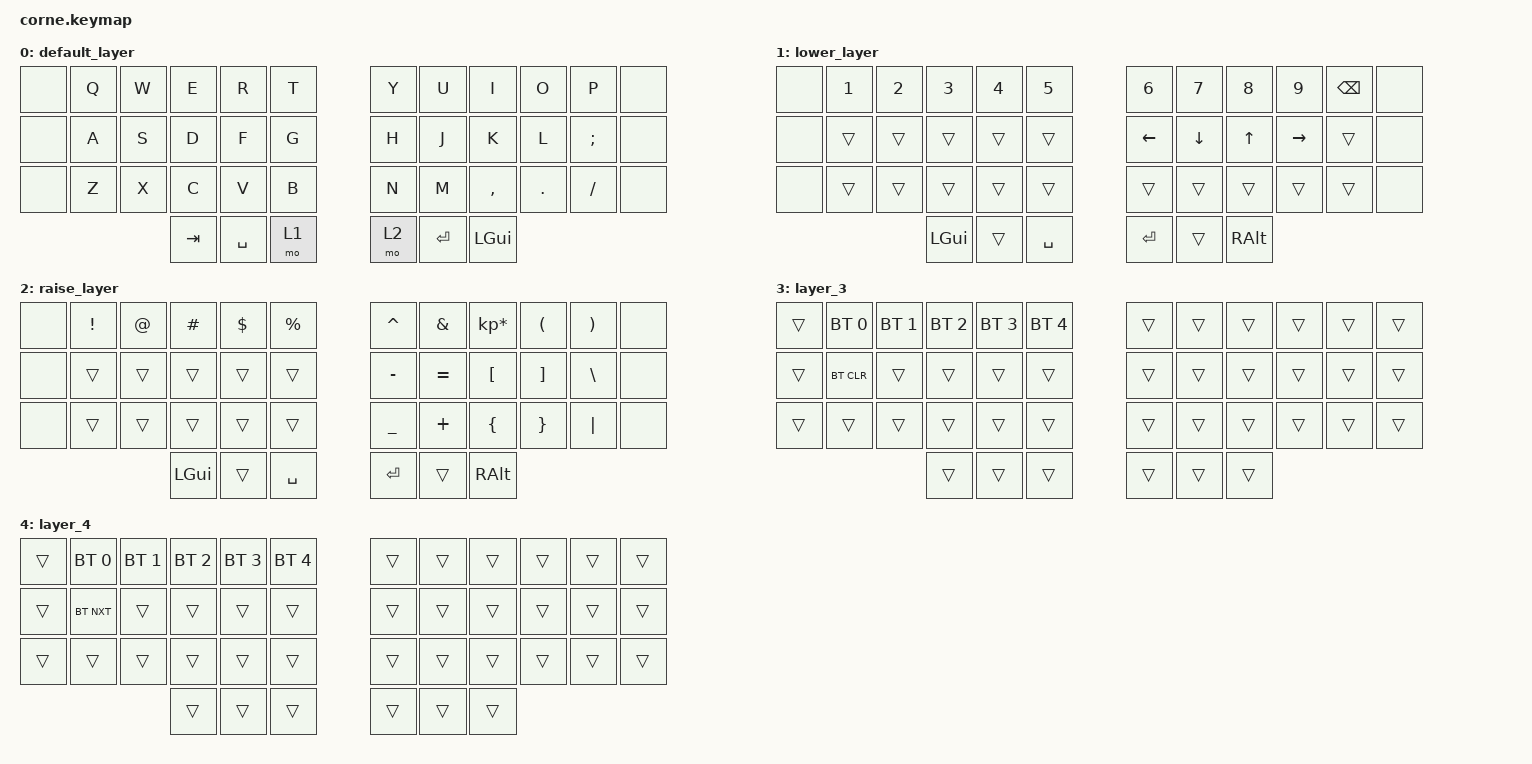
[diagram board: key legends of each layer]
/*
 * Copyright (c) 2020 The ZMK Contributors
 *
 * SPDX-License-Identifier: MIT
 */

#include <behaviors.dtsi>
#include <dt-bindings/zmk/bt.h>
#include <dt-bindings/zmk/keys.h>

/ {
    combos {
        compatible = "zmk,combos";

        BT {
            bindings = <&tog 3>;
            key-positions = <38 39>;
        };
    };

    keymap {
        compatible = "zmk,keymap";

        default_layer {
            // -----------------------------------------------------------------------------------------
            // | NONE |  Q  |  W  |  E  |  R  |  T  |   |  Y  |  U   |  I  |  O  |  P  | NONE |
            // | NONE |  A  |  S  |  D  |  F  |  G  |   |  H  |  J   |  K  |  L  |  ;  | NONE |
            // | NONE |  Z  |  X  |  C  |  V  |  B  |   |  N  |  M   |  ,  |  .  |  /  | NONE |
            //                    | GUI | LWR | SPC |   | ENT | RSE  | ALT |

            bindings = <
&none  &kp Q  &kp W  &kp E    &kp R      &kp T    &kp Y  &kp U      &kp I      &kp O    &kp P     &none
&none  &kp A  &kp S  &kp D    &kp F      &kp G    &kp H  &kp J      &kp K      &kp L    &kp SEMI  &none
&none  &kp Z  &kp X  &kp C    &kp V      &kp B    &kp N  &kp M      &kp COMMA  &kp DOT  &kp FSLH  &none
                     &kp TAB  &kp SPACE  &mo 1    &mo 2  &kp ENTER  &kp LGUI
            >;
        };

        lower_layer {
            // -----------------------------------------------------------------------------------------
            // |      |  1  |  2  |  3  |  4  |  5  |   |  6  |  7  |  8  |  9  |  0  |      |
            // |      | BT1 | BT2 | BT3 | BT4 | BT5 |   | LFT | DWN |  UP | RGT |     |      |
            // |      |     |     |     |     |     |   |     |     |     |     |     |      |
            //                    | GUI |     | SPC |   | ENT |     | ALT |

            bindings = <
&none  &kp N1  &kp N2  &kp N3    &kp N4  &kp N5       &kp N6    &kp N7    &kp N8    &kp N9     &kp BACKSPACE  &none
&none  &trans  &trans  &trans    &trans  &trans       &kp LEFT  &kp DOWN  &kp UP    &kp RIGHT  &trans         &none
&none  &trans  &trans  &trans    &trans  &trans       &trans    &trans    &trans    &trans     &trans         &none
                       &kp LGUI  &trans  &kp SPACE    &kp RET   &trans    &kp RALT
            >;
        };

        raise_layer {
            // -----------------------------------------------------------------------------------------
            // | NONE |  !  |  @  |  #  |  $  |  %  |   |  ^  |  &  |  *  |  (  |  )  | NONE |
            // | NONE |     |     |     |     |     |   |  -  |  =  |  [  |  ]  |  \  | NONE |
            // | NONE |     |     |     |     |     |   |  _  |  +  |  {  |  }  | "|" | NONE |
            //                    | GUI |     | SPC |   | ENT |     | ALT |

            bindings = <
&none  &kp EXCL  &kp AT  &kp HASH  &kp DLLR  &kp PRCNT    &kp CARET  &kp AMPS   &kp KP_MULTIPLY  &kp LPAR  &kp RPAR  &none
&none  &trans    &trans  &trans    &trans    &trans       &kp MINUS  &kp EQUAL  &kp LBKT         &kp RBKT  &kp BSLH  &none
&none  &trans    &trans  &trans    &trans    &trans       &kp UNDER  &kp PLUS   &kp LBRC         &kp RBRC  &kp PIPE  &none
                         &kp LGUI  &trans    &kp SPACE    &kp RET    &trans     &kp RALT
            >;
        };

        layer_3 {
            bindings = <
&trans  &bt BT_SEL 0  &bt BT_SEL 1  &bt BT_SEL 2  &bt BT_SEL 3  &bt BT_SEL 4    &trans  &trans  &trans  &trans  &trans  &trans
&trans  &bt BT_CLR    &trans        &trans        &trans        &trans          &trans  &trans  &trans  &trans  &trans  &trans
&trans  &trans        &trans        &trans        &trans        &trans          &trans  &trans  &trans  &trans  &trans  &trans
                                    &trans        &trans        &trans          &trans  &trans  &trans
            >;
        };

        layer_4 {
            bindings = <
&trans  &bt BT_SEL 0  &bt BT_SEL 1  &bt BT_SEL 2  &bt BT_SEL 3  &bt BT_SEL 4    &trans  &trans  &trans  &trans  &trans  &trans
&trans  &bt BT_NXT    &trans        &trans        &trans        &trans          &trans  &trans  &trans  &trans  &trans  &trans
&trans  &trans        &trans        &trans        &trans        &trans          &trans  &trans  &trans  &trans  &trans  &trans
                                    &trans        &trans        &trans          &trans  &trans  &trans
            >;
        };
    };
};
